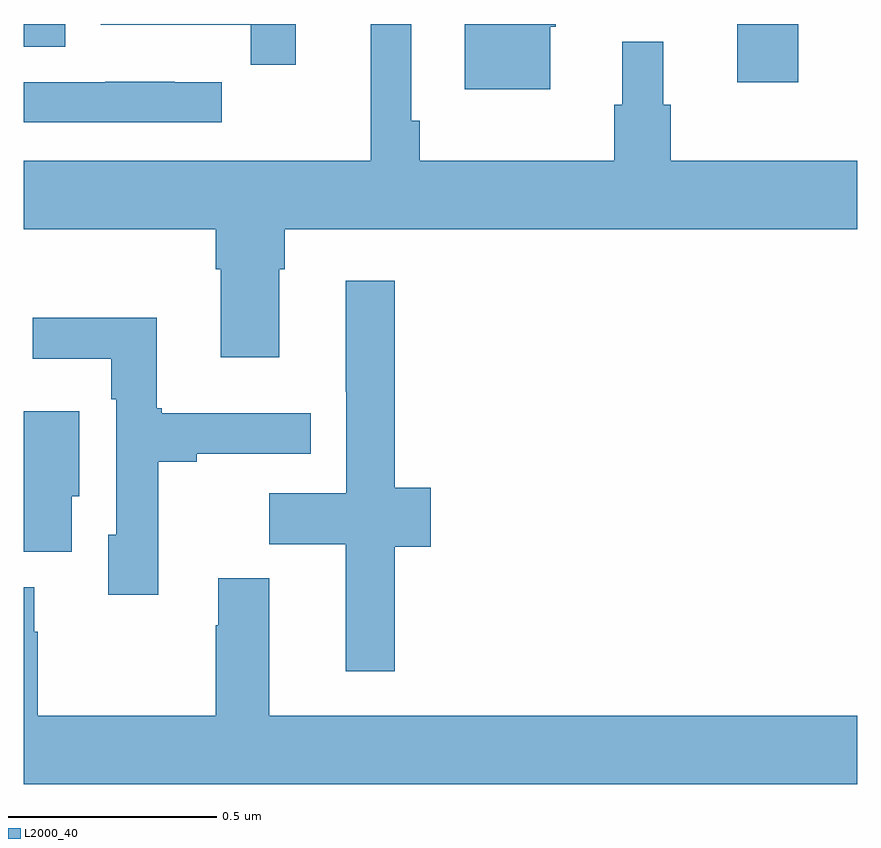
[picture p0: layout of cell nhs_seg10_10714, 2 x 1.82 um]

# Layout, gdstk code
import gdstk
lib = gdstk.Library(unit=1e-6, precision=1e-09)
def R(c, l, rs):  # rectangles x0, y0, x1, y1
    for r in rs: c.add(gdstk.rectangle(r[:2], r[2:], *l))
def P(c, l, *ps):  # polygons
    for p in ps: c.add(gdstk.Polygon(p, *l))
L2000_40 = (2000, 40)

nhs_seg10_10714 = lib.new_cell('nhs_seg10_10714')
R(nhs_seg10_10714, L2000_40, [(247.712,1275.36,247.859,1275.5), (246,1275.445,246.1,1275.5)])
P(nhs_seg10_10714, L2000_40, [(246.613,1274.912),(246.626,1274.912),(246.626,1275.008),(248,1275.008),(248,1275.172),(247.553,1275.172),(247.553,1275.306),(247.534,1275.306),(247.534,1275.457),(247.436,1275.457),(247.436,1275.306),(247.417,1275.306),(247.417,1275.172),(246.95,1275.172),(246.95,1275.268),(246.93,1275.268),(246.93,1275.5),(246.833,1275.5),(246.833,1275.172),(246,1275.172),(246,1275.008),(246.461,1275.008),(246.461,1274.912),(246.473,1274.912),(246.473,1274.7),(246.613,1274.7)],
  [(247.263,1275.494),(247.276,1275.494),(247.276,1275.5),(247.058,1275.5),(247.058,1275.344),(247.263,1275.344)],
  [(246.653,1275.5),(246.185,1275.5),(246.185,1275.498),(246.544,1275.498),(246.544,1275.402),(246.653,1275.402)],
  [(246.475,1275.36),(246.362,1275.36),(246.362,1275.361),(246.196,1275.361),(246.196,1275.36),(246,1275.36),(246,1275.264),(246.475,1275.264)],
  [(246.89,1274.245),(246.976,1274.245),(246.976,1274.387),(246.89,1274.387),(246.89,1274.884),(246.773,1274.884),(246.773,1274.617),(246.774,1274.617),(246.774,1274.374),(246.589,1274.374),(246.589,1274.252),(246.773,1274.252),(246.773,1273.947),(246.89,1273.947)],
  [(246.323,1274.449),(246.415,1274.449),(246.415,1274.469),(246.689,1274.469),(246.689,1274.566),(246.331,1274.566),(246.331,1274.578),(246.319,1274.578),(246.319,1274.795),(246.021,1274.795),(246.021,1274.697),(246.21,1274.697),(246.21,1274.6),(246.222,1274.6),(246.222,1274.274),(246.203,1274.274),(246.203,1274.13),(246.323,1274.13)],
  [(246.115,1274.367),(246.133,1274.367),(246.133,1274.571),(246,1274.571),(246,1274.233),(246.115,1274.233)],
  [(248,1273.84),(246.589,1273.84),(246.589,1274.17),(246.467,1274.17),(246.467,1274.057),(246.46,1274.057),(246.46,1273.84),(246.033,1273.84),(246.033,1274.042),(246.025,1274.042),(246.025,1274.148),(246,1274.148),(246,1273.676),(248,1273.676)])

lib.write_gds('nhs_seg10_10714.gds')
